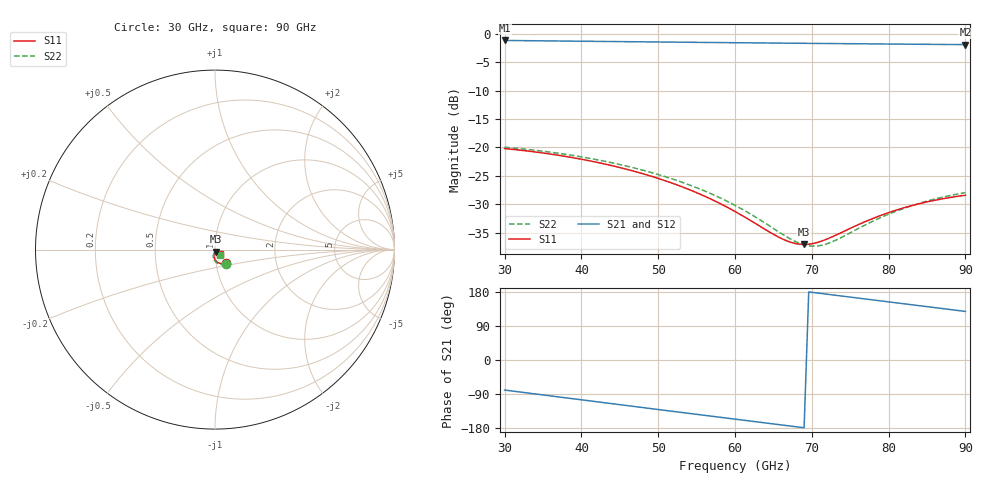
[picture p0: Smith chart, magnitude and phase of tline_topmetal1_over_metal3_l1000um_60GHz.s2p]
#  GHZ S DB R 50
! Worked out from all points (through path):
!   101 points, 30 GHz to 90 GHz, reference 50 ohm
!   highest |S21| = -1.19 dB at 30 GHz (marker M1); lowest = -1.9 dB at 90 GHz (marker M2)
!   group delay of S21, straight-line fit = 7.06 ps
!   lowest |S11| = -37.1 dB at 69 GHz (marker M3), VSWR 1.03, Z = 50.6 - j1.25 ohm
!   |S11| at or under -10 dB: start of sweep to end of sweep
!   |S22| runs from -37.4 to -20.0 dB; largest |S21 - S12| = 1.4e-12
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30  -20.22 -50.6  -1.19 -79.3  -1.19 -79.3  -19.98 -51.6
32.4  -20.55 -56.0  -1.22 -85.5  -1.22 -85.5  -20.28 -57.1
34.8  -20.96 -61.3  -1.25 -91.7  -1.25 -91.7  -20.65 -62.6
37.2  -21.44 -66.6  -1.28 -97.9  -1.28 -97.9  -21.08 -68.1
40.2  -22.14 -73.0  -1.32 -105.6  -1.32 -105.6  -21.72 -74.8
45  -23.56 -82.8  -1.39 -117.9  -1.39 -117.9  -23.02 -85.1
50.4  -25.65 -92.5  -1.46 -131.6  -1.46 -131.6  -24.95 -95.6
55.2  -28.09 -98.8  -1.52 -143.9  -1.52 -143.9  -27.21 -103.2
57.6  -29.58 -100.5  -1.55 -150.0  -1.55 -150.0  -28.60 -105.8
60  -31.29 -100.3  -1.58 -156.1  -1.58 -156.1  -30.20 -107.1
63  -33.68 -95.8  -1.62 -163.7  -1.62 -163.7  -32.54 -105.5
66  -36.02 -83.4  -1.66 -171.3  -1.66 -171.3  -35.14 -97.2
67.8  -36.91 -71.4  -1.68 -175.8  -1.68 -175.8  -36.53 -87.2
69  -37.10 -62.4  -1.69 -178.8  -1.69 -178.8  -37.16 -78.3
70.2  -36.92 -53.7  -1.70 178.1  -1.70 178.1  -37.39 -68.4
71.4  -36.44 -46.1  -1.72 175.1  -1.72 175.1  -37.20 -58.7
72.6  -35.78 -40.1  -1.73 172.1  -1.73 172.1  -36.66 -50.4
76.2  -33.52 -30.7  -1.77 163.0  -1.77 163.0  -34.18 -36.0
80.4  -31.31 -29.7  -1.82 152.4  -1.82 152.4  -31.54 -33.0
82.8  -30.34 -31.5  -1.84 146.3  -1.84 146.3  -30.36 -34.4
85.2  -29.55 -34.3  -1.87 140.3  -1.87 140.3  -29.39 -37.0
90  -28.43 -41.6  -1.92 128.2  -1.92 128.2  -27.96 -44.4
